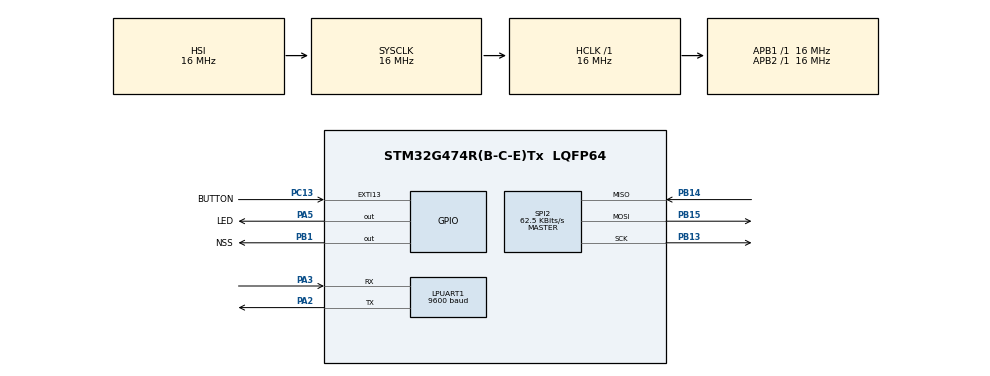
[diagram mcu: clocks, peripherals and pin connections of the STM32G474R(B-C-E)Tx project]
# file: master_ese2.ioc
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LPUART1.BaudRate=9600
Mcu.Family=STM32G4
Mcu.Name=STM32G474R(B-C-E)Tx
Mcu.Package=LQFP64
NVIC.EXTI15_10_IRQn=true\:0\:0\:false\:false\:true\:true\:true\:true
NVIC.LPUART1_IRQn=true\:0\:0\:false\:false\:true\:true\:true\:true
NVIC.PriorityGroup=NVIC_PRIORITYGROUP_4
NVIC.SPI2_IRQn=true\:0\:0\:false\:false\:true\:true\:true\:true
PA2.Mode=Asynchronous
PA2.Signal=LPUART1_TX
PA3.Mode=Asynchronous
PA3.Signal=LPUART1_RX
PA5.GPIO_Label=LED
PA5.Signal=GPIO_Output
PB1.GPIO_Label=NSS
PB1.PinState=GPIO_PIN_SET
PB1.Signal=GPIO_Output
PB13.Mode=Full_Duplex_Master
PB13.Signal=SPI2_SCK
PB14.Mode=Full_Duplex_Master
PB14.Signal=SPI2_MISO
PB15.Mode=Full_Duplex_Master
PB15.Signal=SPI2_MOSI
PC13.GPIO_Label=BUTTON
PC13.Signal=GPXTI13
ProjectManager.HeapSize=0x200
ProjectManager.StackSize=0x400
ProjectManager.TargetToolchain=STM32CubeIDE
RCC.AHBFreq_Value=16000000
RCC.APB1Freq_Value=16000000
RCC.APB1TimFreq_Value=16000000
RCC.APB2Freq_Value=16000000
RCC.APB2TimFreq_Value=16000000
RCC.CortexFreq_Value=16000000
RCC.EXTERNAL_CLOCK_VALUE=12288000
RCC.HCLKFreq_Value=16000000
RCC.HSE_VALUE=8000000
RCC.HSI48_VALUE=48000000
RCC.HSI_VALUE=16000000
RCC.LSE_VALUE=32768
RCC.SYSCLKFreq_VALUE=16000000
RCC.USBFreq_Value=64000000
RCC.VCOOutputFreq_Value=128000000
SPI2.BaudRatePrescaler=SPI_BAUDRATEPRESCALER_256
SPI2.CalculateBaudRate=62.5 KBits/s
SPI2.DataSize=SPI_DATASIZE_8BIT
SPI2.Direction=SPI_DIRECTION_2LINES
SPI2.Mode=SPI_MODE_MASTER
SPI2.VirtualType=VM_MASTER
VP_SYS_VS_DBSignals.Mode=DisableDeadBatterySignals
board=custom

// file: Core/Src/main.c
/* USER CODE BEGIN Header */
/**
  ******************************************************************************
  * @file           : main.c
  * @brief          : Main program body
  ******************************************************************************
  * @attention
  *
  * Copyright (c) 2026 STMicroelectronics.
  * All rights reserved.
  *
  * This software is licensed under terms that can be found in the LICENSE file
  * in the root directory of this software component.
  * If no LICENSE file comes with this software, it is provided AS-IS.
  *
  ******************************************************************************
  */
/* USER CODE END Header */
#include "main.h"
#include "usart.h"
#include "spi.h"
#include "gpio.h"

/* USER CODE BEGIN Includes */
#include "stdio.h"
#include "string.h"

/* USER CODE END Includes */

/* USER CODE BEGIN PD */
#define MSG_SIZE 60
/* USER CODE END PD */

/* USER CODE BEGIN PV */
volatile uint8_t n_tx = 1;         // Coefficiente iniziale da inviare
volatile uint8_t n_rx = 0;         // Buffer di ricezione per la risposta dello Slave

volatile uint8_t spi_busy = 0;     // Flag di stato: 1 se la transazione SPI è in corso
volatile uint8_t uart_busy = 0;    //stessa cosa per la trasmissione dell uart usato per il logger

char log_buffer[MSG_SIZE];
uint32_t half_period=500;
volatile uint32_t last_button_time=0;
/* USER CODE END PV */

void SystemClock_Config(void);

int main(void)
{

  /* MCU Configuration--------------------------------------------------------*/

  /* Reset of all peripherals, Initializes the Flash interface and the Systick. */
  HAL_Init();

  /* Configure the system clock */
  SystemClock_Config();

  /* Initialize all configured peripherals */
  MX_GPIO_Init();
  MX_LPUART1_UART_Init();
  MX_SPI2_Init();

  /* Infinite loop */
  while (1)
  {

    /* USER CODE BEGIN 3 */
	  HAL_GPIO_TogglePin(LED_GPIO_Port, LED_Pin);
	  HAL_Delay(half_period);
  }
  /* USER CODE END 3 */
}

void SystemClock_Config(void)
{
  RCC_OscInitTypeDef RCC_OscInitStruct = {0};
  RCC_ClkInitTypeDef RCC_ClkInitStruct = {0};

  /** Configure the main internal regulator output voltage
  */
  HAL_PWREx_ControlVoltageScaling(PWR_REGULATOR_VOLTAGE_SCALE1);

  /** Initializes the RCC Oscillators according to the specified parameters
  * in the RCC_OscInitTypeDef structure.
  */
  RCC_OscInitStruct.OscillatorType = RCC_OSCILLATORTYPE_HSI;
  RCC_OscInitStruct.HSIState = RCC_HSI_ON;
  RCC_OscInitStruct.HSICalibrationValue = RCC_HSICALIBRATION_DEFAULT;
  RCC_OscInitStruct.PLL.PLLState = RCC_PLL_NONE;
  if (HAL_RCC_OscConfig(&RCC_OscInitStruct) != HAL_OK)
  {
    Error_Handler();
  }

  /** Initializes the CPU, AHB and APB buses clocks
  */
  RCC_ClkInitStruct.ClockType = RCC_CLOCKTYPE_HCLK|RCC_CLOCKTYPE_SYSCLK
                              |RCC_CLOCKTYPE_PCLK1|RCC_CLOCKTYPE_PCLK2;
  RCC_ClkInitStruct.SYSCLKSource = RCC_SYSCLKSOURCE_HSI;
  RCC_ClkInitStruct.AHBCLKDivider = RCC_SYSCLK_DIV1;
  RCC_ClkInitStruct.APB1CLKDivider = RCC_HCLK_DIV1;
  RCC_ClkInitStruct.APB2CLKDivider = RCC_HCLK_DIV1;

  if (HAL_RCC_ClockConfig(&RCC_ClkInitStruct, FLASH_LATENCY_0) != HAL_OK)
  {
    Error_Handler();
  }
}

/* USER CODE BEGIN 4 */
void HAL_GPIO_EXTI_Callback(uint16_t GPIO_Pin) {
	if (GPIO_Pin == BUTTON_Pin) {
		uint32_t current_time = HAL_GetTick();
		// Debouncing software anti-rimbalzo (200ms)
		if (current_time - last_button_time < 200)
			return;
		last_button_time = current_time;

		if(spi_busy || uart_busy) return; //se è in corso una trasmissione spi o uart in corso allora esco

		// --- SOFT SELECTION (MANUALE) ---
		// Forzo il pin di selezione a LOW via software per attivare lo Slave
		HAL_GPIO_WritePin(NSS_GPIO_Port, NSS_Pin, GPIO_PIN_RESET);

		spi_busy=1; //occupo il flag di per la trasmissione spi
		HAL_SPI_TransmitReceive_IT(&hspi2, (uint8_t*)&n_tx, (uint8_t*)&n_rx, 1);
		//partenza della trasmissione asincrona , invio n_rx, ricevo n_rx
	}
}

//FINE TRANSAZIONE SPI: Chiude la SPI e concatena IMMEDIATAMENTE la UART
void HAL_SPI_TxRxCpltCallback(SPI_HandleTypeDef *hspi) {
	if (hspi->Instance == SPI2) {

		//effettuata la trasmissione o la ricezione porto il pin NSS a un livello HIGH
		HAL_GPIO_WritePin(NSS_GPIO_Port, NSS_Pin, GPIO_PIN_SET);

		//abilito il buffer per poter ricevere dallo slave
		if (n_rx > 0){
			half_period=500/n_rx;

		}

		// --- ATTIVAZIONE LOGGER ---
		uart_busy=1;
		//// Formatto i dati nel buffer protetto
		snprintf(log_buffer, sizeof(log_buffer), "SPI: TX=%d | RX=%d\r\n", n_tx, n_rx);

		// Lancio la stampa in modalità Interruzione (non bloccante)
		HAL_UART_Transmit_IT(&hlpuart1, (uint8_t*)log_buffer, strlen(log_buffer));

		//do l okay per le future trasmissioni
		spi_busy=0;

	}
}

void HAL_UART_TxCpltCallback(UART_HandleTypeDef *huart) {
    if (huart->Instance == hlpuart1.Instance) {
        // La stringa è stata inviata con successo sul PC, posso liberare il logger
    	//aggiorno il valore ricevuto e lo salvo nella variaible tra trasmettere

    	//aggiorno il n_tx solo dopo che ho stampato il messaggio uart
    	n_tx=n_rx;
        uart_busy = 0;
    }
}

/* USER CODE END 4 */

void Error_Handler(void)
{
  __disable_irq();
  while (1)
  {
  }
}
